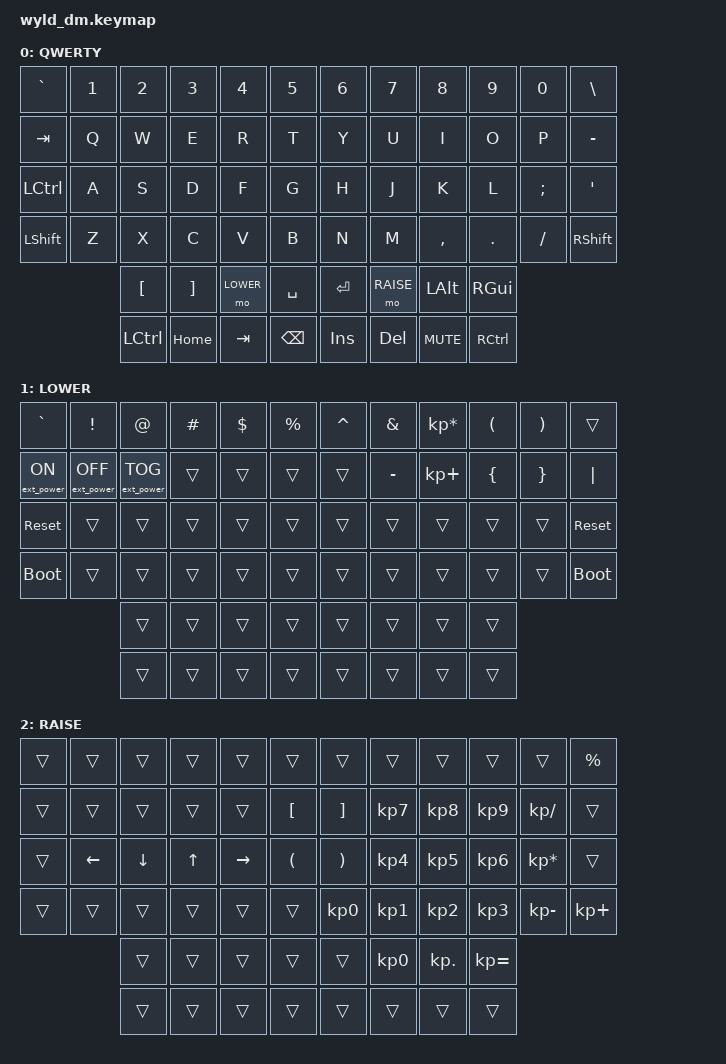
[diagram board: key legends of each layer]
/*
 * Copyright (c) 2020 The ZMK Contributors
 *
 * SPDX-License-Identifier: MIT
 */

#include <behaviors.dtsi>
#include <dt-bindings/zmk/bt.h>
#include <dt-bindings/zmk/ext_power.h>
#include <dt-bindings/zmk/keys.h>
#include <dt-bindings/zmk/outputs.h>

#define QWERTY 0
#define LOWER 1
#define RAISE 2

/ {
    keymap {
        compatible = "zmk,keymap";

        default_layer {
            display-name = "QWERTY";
            bindings = <
&kp GRAVE  &kp N1  &kp N2     &kp N3    &kp N4     &kp N5         &kp N6      &kp N7      &kp N8        &kp N9     &kp N0    &kp BSLH
&kp TAB    &kp Q   &kp W      &kp E     &kp R      &kp T          &kp Y       &kp U       &kp I         &kp O      &kp P     &kp MINUS
&kp LCTRL  &kp A   &kp S      &kp D     &kp F      &kp G          &kp H       &kp J       &kp K         &kp L      &kp SEMI  &kp SQT
&kp LSHFT  &kp Z   &kp X      &kp C     &kp V      &kp B          &kp N       &kp M       &kp COMMA     &kp DOT    &kp FSLH  &kp RSHFT
                   &kp LBKT   &kp RBKT  &mo LOWER  &kp SPACE      &kp ENTER   &mo RAISE   &kp LEFT_ALT  &kp RGUI
                   &kp LCTRL  &kp HOME  &kp TAB    &kp BACKSPACE  &kp INSERT  &kp DELETE  &kp K_MUTE    &kp RCTRL
            >;

        };

        lower_layer {
            display-name = "LOWER";
            bindings = <
&kp GRAVE         &kp EXCL           &kp AT             &kp HASH      &kp DOLLAR    &kp PRCNT     &kp CARET     &kp AMPS      &kp KP_MULTIPLY  &kp LPAR  &kp RPAR  &trans
&ext_power EP_ON  &ext_power EP_OFF  &ext_power EP_TOG  &trans        &trans        &trans        &trans        &kp MINUS     &kp KP_PLUS      &kp LBRC  &kp RBRC  &kp PIPE
&sys_reset        &trans             &trans             &trans        &trans        &trans        &trans        &trans        &trans           &trans    &trans    &sys_reset
&bootloader       &trans             &trans             &trans        &trans        &trans        &trans        &trans        &trans           &trans    &trans    &bootloader
                                     &trans             &trans        &trans        &trans        &trans        &trans        &trans           &trans
                                     &trans             &trans        &trans        &trans        &trans        &trans        &trans           &trans
            >;

        };

        raise_layer {
            display-name = "RAISE";
            bindings = <
&trans  &trans    &trans    &trans  &trans     &trans    &trans     &trans     &trans      &trans        &trans           &kp PRCNT
&trans  &trans    &trans    &trans  &trans     &kp LBKT  &kp RBKT   &kp KP_N7  &kp KP_N8   &kp KP_N9     &kp KP_DIVIDE    &trans
&trans  &kp LEFT  &kp DOWN  &kp UP  &kp RIGHT  &kp LPAR  &kp RPAR   &kp KP_N4  &kp KP_N5   &kp KP_N6     &kp KP_MULTIPLY  &trans
&trans  &trans    &trans    &trans  &trans     &trans    &kp KP_N0  &kp KP_N1  &kp KP_N2   &kp KP_N3     &kp KP_MINUS     &kp KP_PLUS
                  &trans    &trans  &trans     &trans    &trans     &kp KP_N0  &kp KP_DOT  &kp KP_EQUAL
                  &trans    &trans  &trans     &trans    &trans     &trans     &trans      &trans
            >;

        };
    };
};
